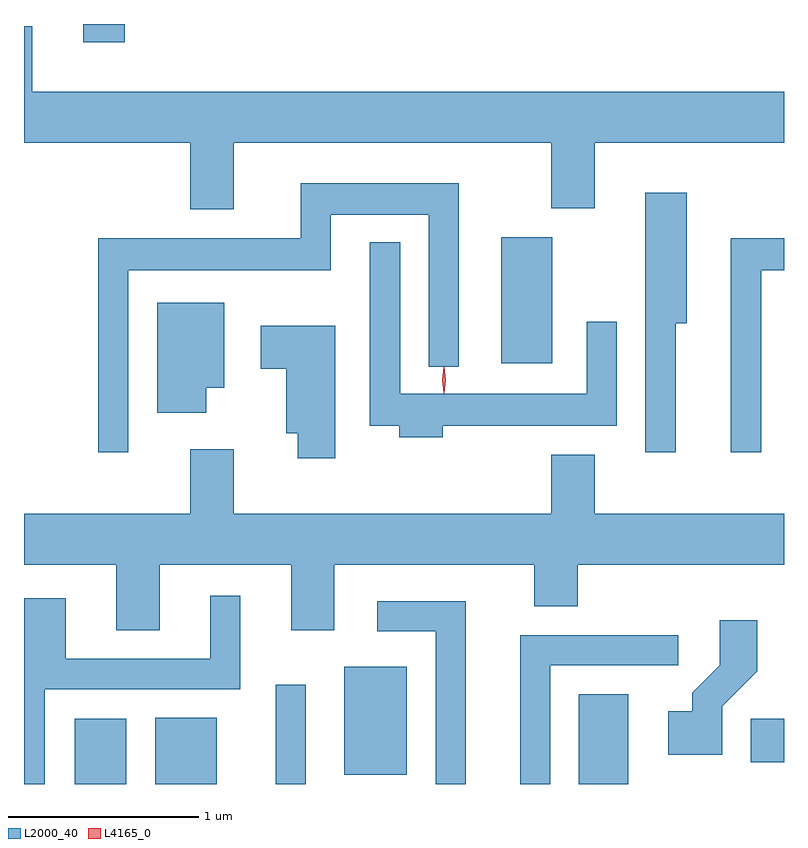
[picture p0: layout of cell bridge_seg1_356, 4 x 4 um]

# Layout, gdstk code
import gdstk
lib = gdstk.Library(unit=1e-6, precision=1e-09)
def R(c, l, rs):  # rectangles x0, y0, x1, y1
    for r in rs: c.add(gdstk.rectangle(r[:2], r[2:], *l))
def P(c, l, *ps):  # polygons
    for p in ps: c.add(gdstk.Polygon(p, *l))
L2000_40 = (2000, 40)
L4165_0 = (4165, 0)

bridge_seg1_356 = lib.new_cell('bridge_seg1_356')
R(bridge_seg1_356, L2000_40, [(925.631,871.781,925.904,872.124), (926.056,871.781,926.379,872.129), (926.691,871.781,926.849,872.303), (928.286,871.781,928.544,872.254), (927.051,871.831,927.379,872.399), (929.191,871.896,929.365,872.124), (927.876,873.996,928.144,874.659), (925.676,875.686,925.894,875.781)])
P(bridge_seg1_356, L2000_40, [(926.469,875.156),(928.141,875.156),(928.141,874.811),(928.369,874.811),(928.369,875.156),(929.365,875.156),(929.365,875.424),(925.409,875.424),(925.409,875.769),(925.365,875.769),(925.365,875.156),(926.241,875.156),(926.241,874.806),(926.469,874.806)],
  [(925.914,874.486),(926.979,874.486),(926.979,874.776),(927.496,874.776),(927.496,873.978),(927.654,873.978),(927.654,874.944),(926.821,874.944),(926.821,874.654),(925.756,874.654),(925.756,873.528),(925.914,873.528)],
  [(928.794,874.206),(928.854,874.206),(928.854,874.894),(928.636,874.894),(928.636,873.528),(928.794,873.528)],
  [(929.244,874.486),(929.365,874.486),(929.365,874.654),(929.086,874.654),(929.086,873.528),(929.244,873.528)],
  [(927.569,873.666),(928.484,873.666),(928.484,874.213),(928.326,874.213),(928.326,873.834),(927.344,873.834),(927.344,874.633),(927.186,874.633),(927.186,873.666),(927.341,873.666),(927.341,873.606),(927.569,873.606)],
  [(926.324,873.866),(926.419,873.866),(926.419,874.314),(926.066,874.314),(926.066,873.736),(926.324,873.736)],
  [(927.004,874.194),(926.611,874.194),(926.611,873.966),(926.746,873.966),(926.746,873.626),(926.806,873.626),(926.806,873.496),(927.004,873.496)],
  [(928.279,872.936),(929.365,872.936),(929.365,873.204),(928.369,873.204),(928.369,873.514),(928.141,873.514),(928.141,873.204),(926.469,873.204),(926.469,873.544),(926.241,873.544),(926.241,873.204),(925.365,873.204),(925.365,872.936),(925.851,872.936),(925.851,872.591),(926.079,872.591),(926.079,872.936),(926.771,872.936),(926.771,872.591),(926.999,872.591),(926.999,872.936),(928.051,872.936),(928.051,872.716),(928.279,872.716)],
  [(925.474,872.281),(926.504,872.281),(926.504,872.773),(926.346,872.773),(926.346,872.439),(925.584,872.439),(925.584,872.759),(925.365,872.759),(925.365,871.781),(925.474,871.781)],
  [(927.689,872.744),(927.223,872.744),(927.223,872.586),(927.531,872.586),(927.531,871.781),(927.689,871.781)],
  [(929.039,872.189),(929.224,872.374),(929.224,872.644),(929.026,872.644),(929.026,872.407),(928.881,872.262),(928.881,872.164),(928.756,872.164),(928.756,871.936),(929.039,871.936)],
  [(928.134,872.406),(928.808,872.406),(928.808,872.564),(927.976,872.564),(927.976,871.781),(928.134,871.781)])
P(bridge_seg1_356, L4165_0, [(927.575,873.837),(927.566,873.907),(927.575,873.976),(927.576,873.976),(927.576,873.976),(927.586,873.907),(927.576,873.837),(927.576,873.837)],
  [(927.575,873.84),(927.566,873.906),(927.575,873.972),(927.576,873.973),(927.576,873.972),(927.586,873.906),(927.576,873.84),(927.576,873.84)])

lib.write_gds('bridge_seg1_356.gds')
